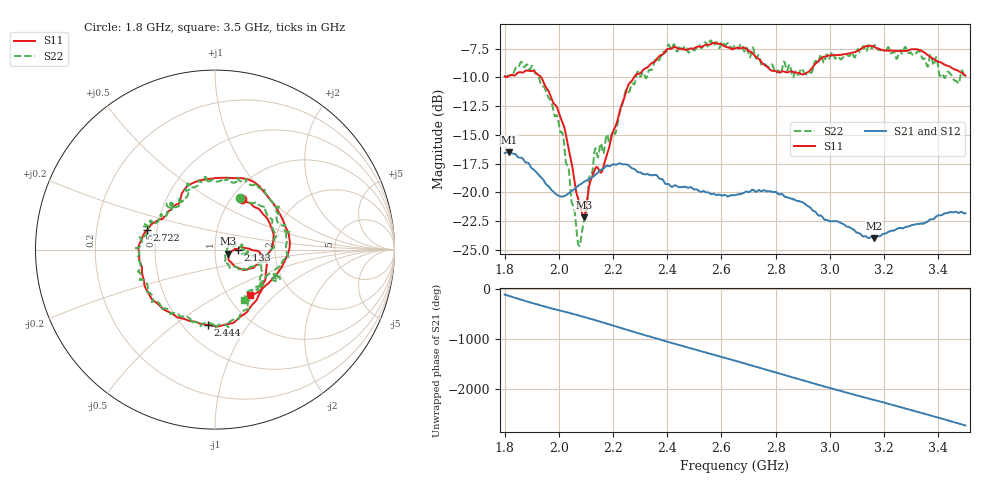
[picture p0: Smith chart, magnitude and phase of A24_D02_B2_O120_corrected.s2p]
! Created with skrf 1.9.0 (http://scikit-rf.org).
# Hz S RI R 50.0
!freq ReS11 ImS11 ReS21 ImS21 ReS12 ImS12 ReS22 ImS22
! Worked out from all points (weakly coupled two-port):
!   1601 points, 1.8 GHz to 3.5 GHz, reference 50 ohm
!   highest |S21| = -16.50 dB at 1.817 GHz (marker M1); lowest = -24.0 dB at 3.163 GHz (marker M2)
!   lowest |S11| = -22.2 dB at 2.092 GHz (marker M3), VSWR 1.17, Z = 58 - j2.57 ohm
!   |S11| at or under -10 dB: 1.935 GHz to 2.277 GHz (342.1 MHz wide, 16.2 % of centre)
!   |S22| runs from -24.7 to -6.8 dB; largest |S21 - S12| = 0.0026
!   S11 on the Smith chart (normalised r, x): 1.8 GHz: 1.12, +0.70; 2.133 GHz: 1.29, -0.01; 2.444 GHz: 0.65, -0.67; 2.722 GHz: 0.44, +0.11; 3.5 GHz: 1.26, -0.72
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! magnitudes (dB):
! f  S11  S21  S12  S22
! 1.8 GHz  -9.9  -16.6  -16.6  -9.9
! 1.817 GHz  -9.8  -16.5  -16.5  -9.9
! 1.902 GHz  -9.4  -17.9  -17.9  -9.0
! 1.968 GHz  -11.5  -19.6  -19.7  -11.9
! 2.015 GHz  -14.0  -20.3  -20.4  -14.9
! 2.071 GHz  -20.5  -19.4  -19.5  -24.4
! 2.084 GHz  -21.6  -19.3  -19.2  -23.7
! 2.092 GHz  -22.2  -19.1  -19.1  -22.5
! 2.133 GHz  -18.0  -18.5  -18.5  -16.3
! 2.162 GHz  -18.0  -18.0  -17.9  -16.5
! 2.259 GHz  -10.5  -17.7  -17.7  -11.3
! 2.367 GHz  -8.2  -18.7  -18.6  -8.5
! 2.444 GHz  -7.5  -19.5  -19.5  -7.3
! 2.65 GHz  -7.5  -20.2  -20.2  -7.2
! 2.722 GHz  -8.1  -19.9  -19.8  -7.9
! 2.804 GHz  -9.5  -20.0  -20.0  -9.5
! 2.934 GHz  -9.2  -21.5  -21.5  -9.5
! 3.163 GHz  -7.3  -24.0  -23.9  -7.2
! 3.217 GHz  -7.7  -23.4  -23.4  -7.4
! 3.328 GHz  -7.6  -22.7  -22.7  -7.7
! 3.414 GHz  -8.7  -22.0  -21.9  -9.7
! 3.5 GHz  -9.9  -21.8  -21.8  -9.8
